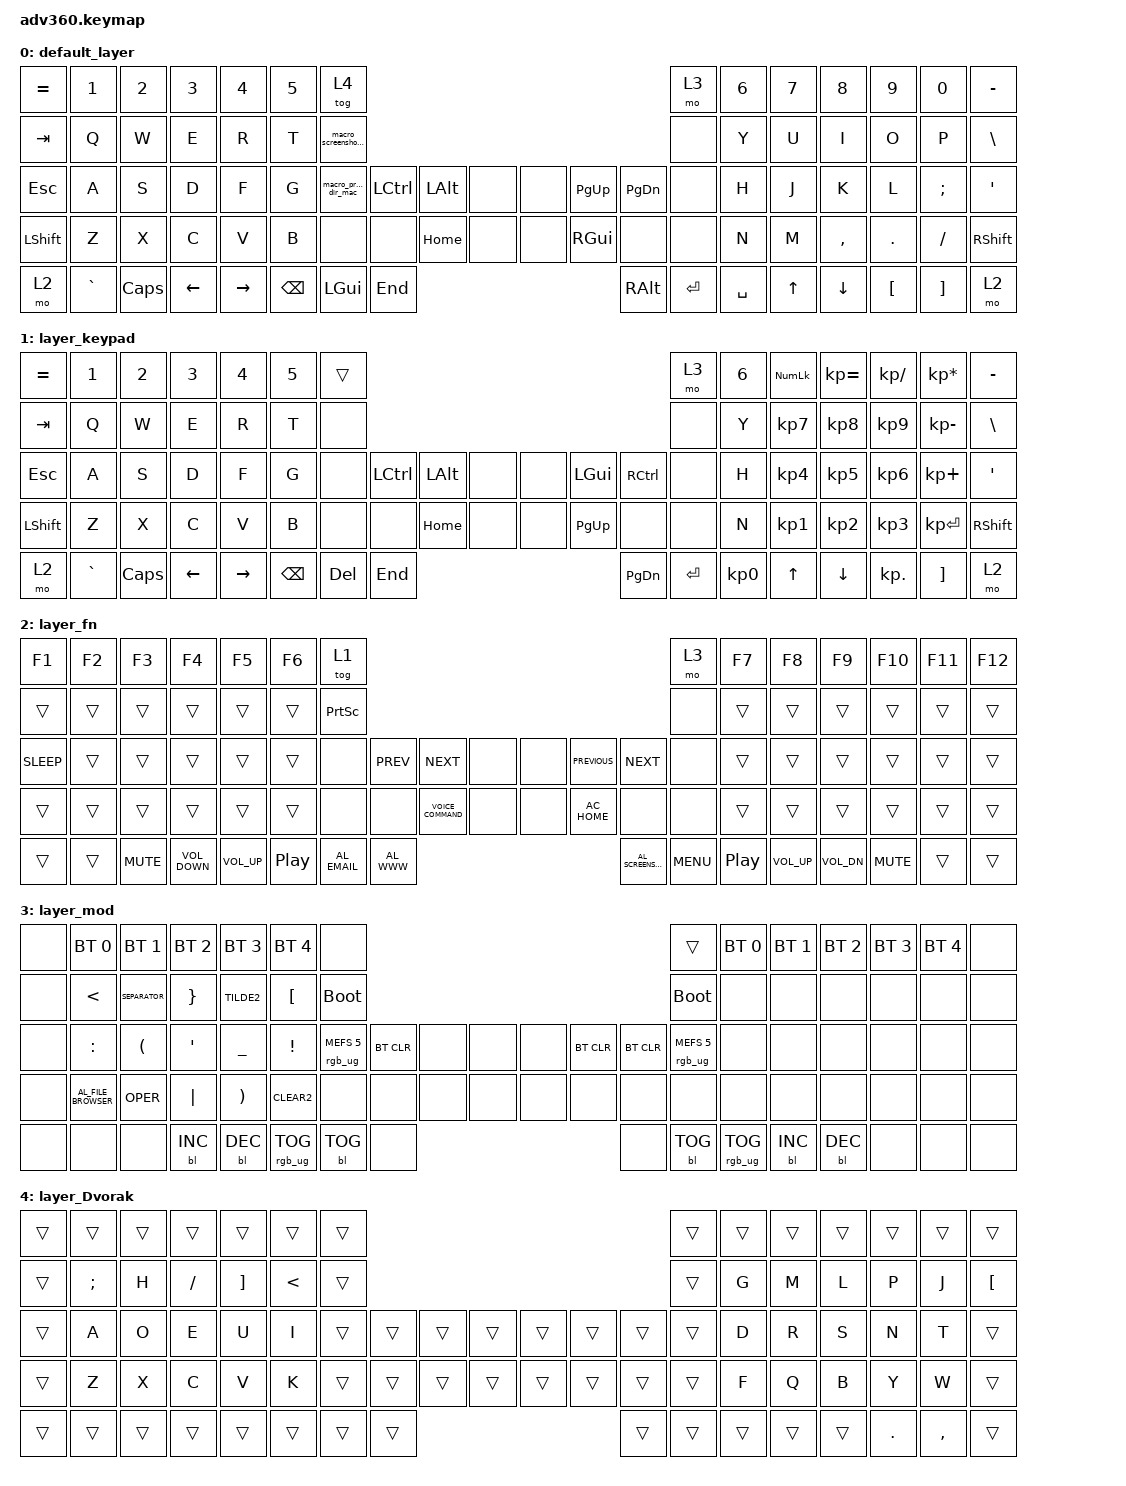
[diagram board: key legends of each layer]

/*
 * Copyright (c) 2020 The ZMK Contributors
 *
 * SPDX-License-Identifier: MIT
 */


/* THIS FILE WAS GENERATED!
 *
 * This file was generated automatically. You may or may not want to
 * edit it directly.
 */

#include <behaviors.dtsi>
#include <dt-bindings/zmk/keys.h>
#include <dt-bindings/zmk/bt.h>
#include <dt-bindings/zmk/rgb.h>
#include <dt-bindings/zmk/backlight.h>

/ {
  behaviors {
    #include "macros.dtsi"

    hm: homerow_mods {
        compatible = "zmk,behavior-hold-tap";
        label = "HOMEROW_MODS";
        #binding-cells = <2>;
        tapping-term-ms = <200>;
        quick_tap_ms = <175>;
        flavor = "tap-preferred";
        bindings = <&kp>, <&kp>;
    };
  };

    keymap {
        compatible = "zmk,keymap";


        default_layer {
            bindings = <
 &kp EQUAL     &kp N1    &kp N2    &kp N3     &kp N4  &kp N5                           &tog 4                                                                     &mo 3  &kp N6  &kp N7     &kp N8    &kp N9    &kp N0  &kp MINUS
   &kp TAB      &kp Q     &kp W     &kp E      &kp R   &kp T            &macro_screenshot_mac                                                                     &none   &kp Y   &kp U      &kp I     &kp O     &kp P   &kp BSLH
   &kp ESC      &kp A     &kp S     &kp D      &kp F   &kp G            &macro_prtscr_dir_mac  &kp LCTRL  &kp LALT   &none   &none  &kp PG_UP  &kp PAGE_DOWN      &none   &kp H   &kp J      &kp K     &kp L  &kp SEMI    &kp SQT
 &kp LSHFT      &kp Z     &kp X     &kp C      &kp V   &kp B                            &none      &none  &kp HOME   &none   &none   &kp RGUI          &none      &none   &kp N   &kp M  &kp COMMA   &kp DOT  &kp FSLH  &kp RSHFT
     &mo 2  &kp GRAVE  &kp CAPS  &kp LEFT  &kp RIGHT                                 &kp BSPC   &kp LGUI   &kp END                   &kp RALT      &kp ENTER  &kp SPACE          &kp UP   &kp DOWN  &kp LBKT  &kp RBKT      &mo 2
            >;
        };

        layer_keypad {
            bindings = <
 &kp EQUAL     &kp N1    &kp N2    &kp N3     &kp N4  &kp N5              &trans                                                                 &mo 3  &kp N6  &kp KP_NUM  &kp KP_EQUAL  &kp KP_DIVIDE  &kp KP_MULTIPLY  &kp MINUS
   &kp TAB      &kp Q     &kp W     &kp E      &kp R   &kp T               &none                                                                 &none   &kp Y   &kp KP_N7     &kp KP_N8      &kp KP_N9     &kp KP_MINUS   &kp BSLH
   &kp ESC      &kp A     &kp S     &kp D      &kp F   &kp G               &none  &kp LCTRL  &kp LALT   &none   &none   &kp LGUI  &kp RCTRL      &none   &kp H   &kp KP_N4     &kp KP_N5      &kp KP_N6      &kp KP_PLUS    &kp SQT
 &kp LSHFT      &kp Z     &kp X     &kp C      &kp V   &kp B               &none      &none  &kp HOME   &none   &none  &kp PG_UP      &none      &none   &kp N   &kp KP_N1     &kp KP_N2      &kp KP_N3     &kp KP_ENTER  &kp RSHFT
     &mo 2  &kp GRAVE  &kp CAPS  &kp LEFT  &kp RIGHT                    &kp BSPC    &kp DEL   &kp END                  &kp PG_DN  &kp ENTER  &kp KP_N0              &kp UP      &kp DOWN     &kp KP_DOT         &kp RBKT      &mo 2
            >;
        };

        layer_fn {
            bindings = <
      &kp F1  &kp F2      &kp F3             &kp F4           &kp F5  &kp F6                     &tog 1                                                                                                    &mo 3  &kp F7        &kp F8        &kp F9     &kp F10  &kp F11  &kp F12
      &trans  &trans      &trans             &trans           &trans  &trans            &kp PRINTSCREEN                                                                                                    &none  &trans        &trans        &trans      &trans   &trans   &trans
 &kp C_SLEEP  &trans      &trans             &trans           &trans  &trans                      &none      &kp C_PREV           &kp C_NEXT   &none   &none        &kp C_PREVIOUS  &kp C_NEXT             &none  &trans        &trans        &trans      &trans   &trans   &trans
      &trans  &trans      &trans             &trans           &trans  &trans                      &none           &none  &kp C_VOICE_COMMAND   &none   &none         &kp C_AC_HOME       &none             &none  &trans        &trans        &trans      &trans   &trans   &trans
      &trans  &trans  &kp C_MUTE  &kp C_VOLUME_DOWN  &kp C_VOLUME_UP                           &kp C_PP  &kp C_AL_EMAIL         &kp C_AL_WWW                  &kp C_AL_SCREENSAVER  &kp C_MENU  &kp C_PLAY_PAUSE          &kp C_VOL_UP  &kp C_VOL_DN  &kp C_MUTE   &trans   &trans
            >;
        };

        layer_mod {
            bindings = <
  &none           &bt BT_SEL 0   &bt BT_SEL 1      &bt BT_SEL 2           &bt BT_SEL 3  &bt BT_SEL 4                             &none                                                                              &trans  &bt BT_SEL 0  &bt BT_SEL 1  &bt BT_SEL 2  &bt BT_SEL 3  &bt BT_SEL 4   &none
  &none                 &kp LT  &kp SEPARATOR          &kp RBRC             &kp TILDE2      &kp LBKT                       &bootloader                                                                         &bootloader         &none         &none         &none         &none         &none   &none
  &none              &kp COLON       &kp LPAR  &kp SINGLE_QUOTE              &kp UNDER      &kp EXCL            &rgb_ug RGB_MEFS_CMD 5  &bt BT_CLR   &none   &none   &none  &bt BT_CLR  &bt BT_CLR  &rgb_ug RGB_MEFS_CMD 5         &none         &none         &none         &none         &none   &none
  &none  &kp C_AL_FILE_BROWSER       &kp OPER          &kp PIPE  &kp RIGHT_PARENTHESIS    &kp CLEAR2                             &none       &none   &none   &none   &none       &none       &none                   &none         &none         &none         &none         &none         &none   &none
  &none                  &none          &none        &bl BL_INC             &bl BL_DEC                                 &rgb_ug RGB_TOG  &bl BL_TOG   &none                       &none  &bl BL_TOG         &rgb_ug RGB_TOG                  &bl BL_INC    &bl BL_DEC         &none         &none   &none
            >;
        };

        layer_Dvorak {
            bindings = <
 &trans         &trans  &trans    &trans             &trans         &trans            &trans                                                  &trans  &trans  &trans  &trans   &trans     &trans            &trans
 &trans  &kp SEMICOLON   &kp H  &kp FSLH  &kp RIGHT_BRACKET  &kp LESS_THAN            &trans                                                  &trans   &kp G   &kp M   &kp L    &kp P      &kp J  &kp LEFT_BRACKET
 &trans          &kp A   &kp O     &kp E              &kp U          &kp I            &trans  &trans  &trans  &trans  &trans  &trans  &trans  &trans   &kp D   &kp R   &kp S    &kp N      &kp T            &trans
 &trans          &kp Z   &kp X     &kp C              &kp V          &kp K            &trans  &trans  &trans  &trans  &trans  &trans  &trans  &trans   &kp F   &kp Q   &kp B    &kp Y      &kp W            &trans
 &trans         &trans  &trans    &trans             &trans                           &trans  &trans  &trans                  &trans  &trans  &trans          &trans  &trans  &kp DOT  &kp COMMA            &trans
            >;
        };

    };
};
